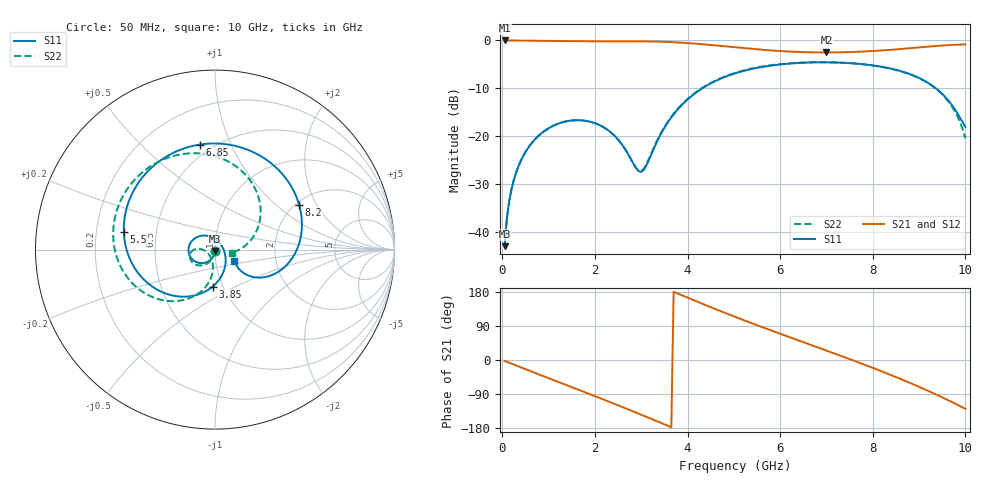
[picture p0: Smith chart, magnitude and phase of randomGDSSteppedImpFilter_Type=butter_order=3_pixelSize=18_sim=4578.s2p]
! freq	dB(S11)	phase(S11)	dB(S12)	phase(S12)
!  dB(S21)	phase(S21)	dB(S22)	phase(S22)
!S-par simulation data
#  GHz  S  DB  R 50
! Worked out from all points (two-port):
!   200 points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, 50 MHz to 10 GHz, reference 50 ohm
!   highest |S21| = -0.01 dB at 50 MHz (marker M1); lowest = -2.5 dB at 7 GHz (marker M2)
!   |S21| within 3 dB of the highest: start of sweep to end of sweep
!   lowest |S11| = -42.9 dB at 50 MHz (marker M3), VSWR 1.01, Z = 50 - j0.719 ohm
!   |S11| at or under -10 dB: start of sweep to 4.316 GHz; 9.366 GHz to end of sweep
!   |S22| runs from -42.9 to -4.5 dB; largest |S21 - S12| = 0
!   S11 on the Smith chart (normalised r, x): 50 MHz: 1.00, -0.01; 3.85 GHz: 0.90, -0.39; 5.5 GHz: 0.32, +0.09; 6.85 GHz: 0.43, +0.77; 8.2 GHz: 2.08, +1.45; 10 GHz: 1.23, -0.16
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0.05  -42.86 -91.0  -0.01 -2.5  -0.01 -2.5  -42.86 -90.5
0.1  -36.94 -94.6  -0.01 -4.9  -0.01 -4.9  -36.93 -93.6
0.2  -30.95 -100.6  -0.02 -9.7  -0.02 -9.7  -30.94 -98.7
0.5  -23.25 -117.0  -0.05 -24.2  -0.05 -24.2  -23.24 -112.0
1.05  -18.03 -146.6  -0.13 -50.4  -0.13 -50.4  -18.02 -135.5
1.75  -16.68 174.6  -0.19 -83.5  -0.19 -83.5  -16.68 -163.2
2.4  -19.63 131.6  -0.18 -114.6  -0.18 -114.6  -19.66 177.7
2.95  -27.27 45.3  -0.18 -141.8  -0.18 -141.8  -27.15 -148.8
3.4  -19.94 -54.9  -0.26 -164.7  -0.26 -164.7  -19.75 -96.1
3.85  -13.72 -93.5  -0.46 172.2  -0.46 172.2  -13.58 -103.6
4.5  -8.96 -135.0  -0.94 139.4  -0.94 139.4  -8.85 -127.3
5.05  -6.79 -166.5  -1.46 112.8  -1.46 112.8  -6.69 -148.8
5.5  -5.72 169.0  -1.86 91.8  -1.86 91.8  -5.63 -165.9
6.05  -4.96 139.9  -2.24 67.1  -2.24 67.1  -4.88 173.9
6.7  -4.58 106.1  -2.48 38.2  -2.48 38.2  -4.54 150.4
6.85  -4.56 98.3  -2.50 31.6  -2.50 31.6  -4.52 145.0
7  -4.56 90.5  -2.51 24.9  -2.51 24.9  -4.53 139.5
8.2  -5.49 28.0  -2.09 -30.3  -2.09 -30.3  -5.54 92.9
8.35  -5.78 20.3  -1.98 -37.6  -1.98 -37.6  -5.83 86.5
9.3  -9.52 -26.3  -1.21 -87.2  -1.21 -87.2  -9.59 39.8
9.75  -14.02 -39.4  -0.91 -113.4  -0.91 -113.4  -14.42 11.6
10  -18.05 -30.0  -0.84 -128.7  -0.84 -128.7  -20.41 -10.6
